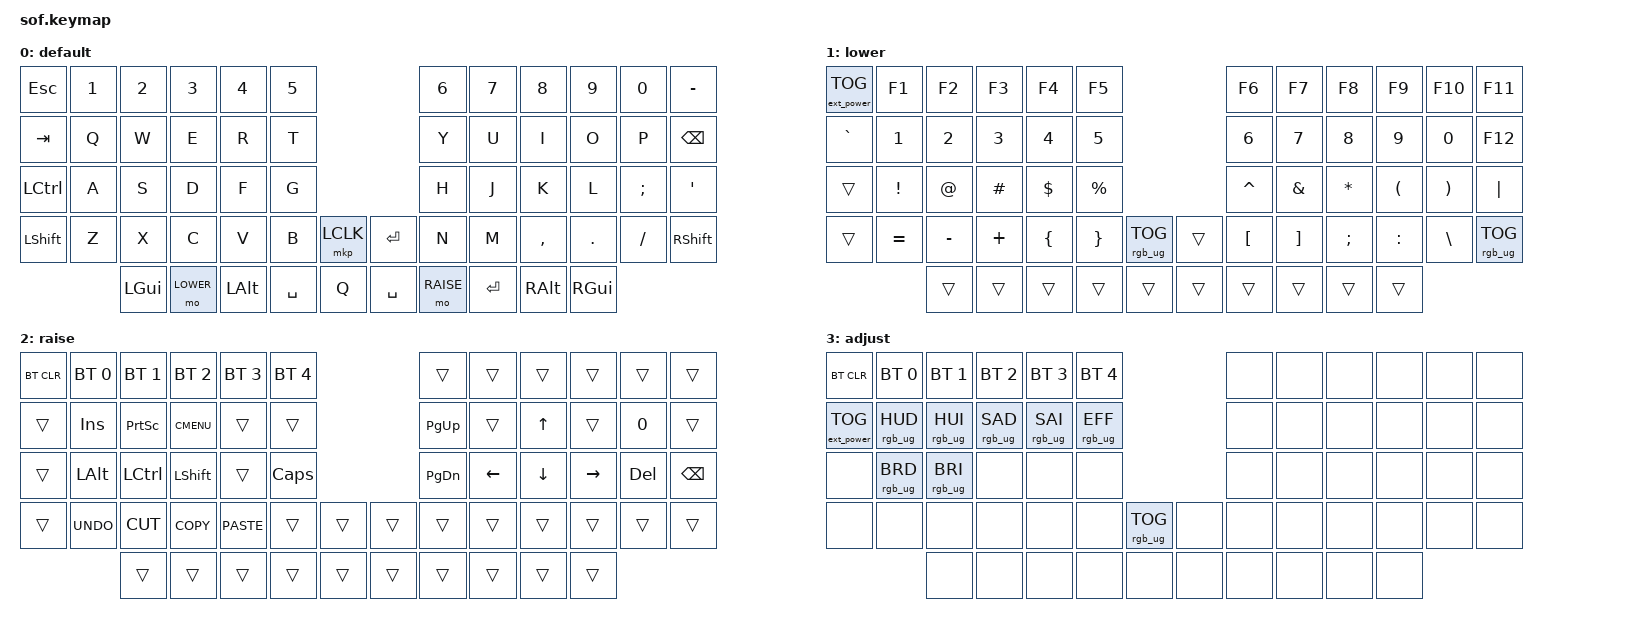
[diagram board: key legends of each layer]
/*
 * Copyright (c) 2020 The ZMK Contributors
 *
 * SPDX-License-Identifier: MIT
 */

#include <behaviors.dtsi>
#include <dt-bindings/zmk/keys.h>
#include <dt-bindings/zmk/bt.h>
#include <dt-bindings/zmk/rgb.h>
#include <dt-bindings/zmk/ext_power.h>
#include <dt-bindings/zmk/pointing.h>

#define BASE 0
#define LOWER 1
#define RAISE 2
#define ADJUST 3

/ {

   // Activate ADJUST layer by pressing raise and lower
    conditional_layers {
        compatible = "zmk,conditional-layers";
        adjust_layer {
            if-layers = <LOWER RAISE>;
            then-layer = <ADJUST>;
        };
    };

    keymap {
        compatible = "zmk,keymap";

        default_layer {
            display-name = "default";
// ------------------------------------------------------------------------------------------------------------
// |   ESC   |  1  |  2  |  3   |  4   |  5   |                   |  6   |  7    |  8    |  9   |   0   |   -    |
// |  TAB  |  Q  |  W  |  E   |  R   |  T   |                   |  Y   |  U    |  I    |  O   |   P   | BKSPC |
// |  CTRL  |  A  |  S  |  D   |  F   |  G   |                   |  H   |  J    |  K    |  L   |   ;   |   '   |
// | SHIFT |  Z  |  X  |  C   |  V   |  B   |  MUTE  |  |       |  N   |  M    |  ,    |  .   |   /   | SHIFT |
//               | GUI | LOWER | ALT | SPACE|  Q  |  | SPACE | RAISE| ENTER  | ALT   | GUI  |
            bindings = <
&kp ESC &kp N1 &kp N2   &kp N3   &kp N4    &kp N5                           &kp N6 &kp N7    &kp N8    &kp N9   &kp N0   &kp MINUS
&kp TAB   &kp Q  &kp W    &kp E    &kp R     &kp T                            &kp Y  &kp U     &kp I     &kp O    &kp P    &kp BSPC
&kp LCTRL   &kp A  &kp S    &kp D    &kp F     &kp G                            &kp H  &kp J     &kp K     &kp L    &kp SEMI &kp SQT
&kp LSHFT &kp Z  &kp X    &kp C    &kp V     &kp B      &mkp LCLK &kp RET      &kp N  &kp M     &kp COMMA &kp DOT  &kp FSLH &kp RSHFT
                 &kp LGUI &mo LOWER &kp LALT &kp SPACE  &kp Q    &kp SPACE  &mo RAISE  &kp RET   &kp RALT  &kp RGUI
            >;

        };

        lower_layer {
            display-name = "lower";
// TODO: Some binds are waiting for shifted keycode support.
// ------------------------------------------------------------------------------------------------------------
// | EXTPWR |  F1 |  F2 |  F3  |  F4  |  F5  |                   |  F6  |  F7   |  F8   |  F9  |  F10  |  F11  |
// |   `   |  1  |  2  |  3   |  4   |  5   |                   |  6   |  7    |  8    |  9   |   0   |  F12  |
// |       |  !  |  @  |  #   |  $   |  %   |                   |  ^   |  &    |  *    |  (   |   )   |   |   |
// |       |  =  |  -  |  +   |  {   |  }    RGB_TOG |  |       |  [   |  ]    |  ;    |  :   |   \   |   RGB_TOG    |
//               |     |      |      |      |        |  |       |      |       |       |      |
            bindings = <
&ext_power EP_TOG    &kp F1    &kp F2    &kp F3      &kp F4    &kp F5                    &kp F6    &kp F7   &kp F8    &kp F9    &kp F10   &kp F11
&kp GRAVE &kp N1    &kp N2    &kp N3      &kp N4    &kp N5                    &kp N6    &kp N7   &kp N8    &kp N9    &kp N0    &kp F12
&trans    &kp EXCL  &kp AT    &kp HASH    &kp DLLR  &kp PRCNT                 &kp CARET &kp AMPS &kp ASTRK &kp LPAR  &kp RPAR  &kp PIPE
&trans    &kp EQUAL &kp MINUS &kp PLUS &kp LBRC  &kp RBRC   &rgb_ug RGB_TOG &trans  &kp LBKT  &kp RBKT &kp SEMI  &kp COLON &kp BSLH  &rgb_ug RGB_TOG
                    &trans    &trans      &trans    &trans     &trans &trans  &trans    &trans   &trans    &trans
            >;

        };

        raise_layer {
            display-name = "raise";
// ------------------------------------------------------------------------------------------------------------
// | BTCLR | BT1  | BT2  |  BT3  |  BT4  |  BT5 |                |      |      |       |      |       |       |
// |       | INS  | PSCR | GUI   |       |      |                | PGUP |      |   ^   |      |       |       |
// |       | ALT  | CTRL | SHIFT |       | CAPS |                | PGDN |   <- |   v   |  ->  |  DEL  | BKSPC |
// |       | UNDO | CUT  | COPY  | PASTE |      |      |  |      |      |      |       |      |       |       |
//                |      |       |       |      |      |  |      |      |      |       |      |
            bindings = <
&bt BT_CLR &bt BT_SEL 0 &bt BT_SEL 1 &bt BT_SEL 2 &bt BT_SEL 3 &bt BT_SEL 4                  &trans    &trans    &trans   &trans    &trans  &trans
&trans     &kp INS      &kp PSCRN    &kp K_CMENU  &trans       &trans                        &kp PG_UP &trans    &kp UP   &trans    &kp N0  &trans
&trans     &kp LALT     &kp LCTRL    &kp LSHFT    &trans       &kp CLCK                      &kp PG_DN &kp LEFT  &kp DOWN &kp RIGHT &kp DEL &kp BSPC
&trans     &kp K_UNDO   &kp K_CUT    &kp K_COPY   &kp K_PASTE  &trans        &trans  &trans  &trans    &trans    &trans   &trans    &trans  &trans
                        &trans       &trans       &trans       &trans        &trans  &trans  &trans    &trans    &trans   &trans
            >;

        };

        adjust_layer {
// ----------------------------------------------------------------------------------------------------------------------------
// | BTCLR  |  BT1    |  BT2    |   BT3   |   BT4   |   BT5   |                  |      |      |       |      |       |       |
// | EXTPWR | RGB_HUD | RGB_HUI | RGB_SAD | RGB_SAI | RGB_EFF |                  |      |      |       |      |       |       |
// |        | RGB_BRD | RGB_BRI |         |         |         |                  |      |      |       |      |       |       |
// |        |         |         |         |         |         | RGB_TOG | |      |      |      |       |      |       |       |
//                    |         |         |         |         |         | |      |      |      |       |      |
            display-name = "adjust";
            bindings = <
&bt BT_CLR        &bt BT_SEL 0    &bt BT_SEL 1    &bt BT_SEL 2    &bt BT_SEL 3    &bt BT_SEL 4                            &none &none &none &none &none &none
&ext_power EP_TOG &rgb_ug RGB_HUD &rgb_ug RGB_HUI &rgb_ug RGB_SAD &rgb_ug RGB_SAI &rgb_ug RGB_EFF                         &none &none &none &none &none &none
&none             &rgb_ug RGB_BRD &rgb_ug RGB_BRI &none           &none           &none                                   &none &none &none &none &none &none
&none             &none           &none           &none           &none           &none            &rgb_ug RGB_TOG &none  &none &none &none &none &none &none
                                  &none           &none           &none           &none            &none           &none  &none &none &none &none
            >;
        };

    };
};
